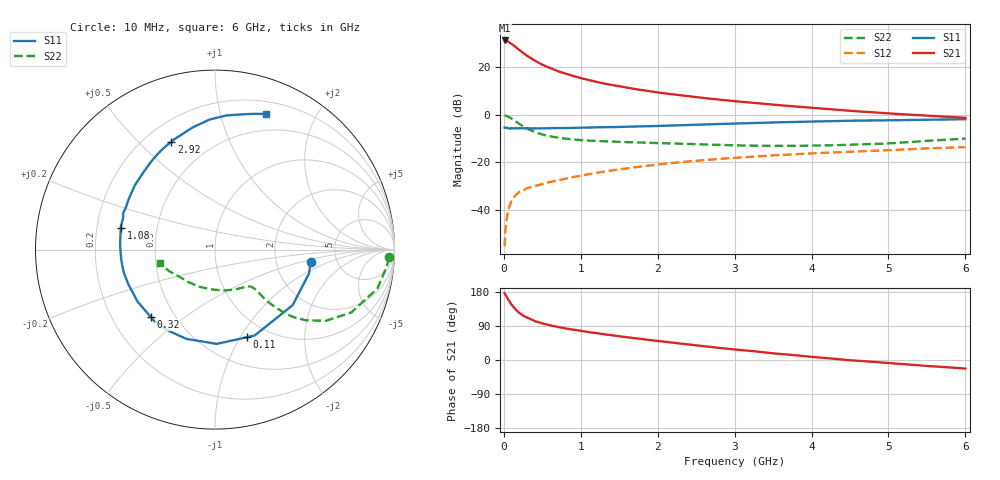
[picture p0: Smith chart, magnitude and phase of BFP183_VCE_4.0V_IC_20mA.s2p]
! Infineon Technologies  Discrete & RF Semiconductors
! BFP183
! VCE = 4.0 V,  IC =  20 mA
! Common Emitter S-Parameters:  Jan 2016
# GHz  S  MA  R  50
!  f  S11  S21  S12  S22
! GHz  MAG  ANG  MAG  ANG  MAG  ANG  MAG  ANG
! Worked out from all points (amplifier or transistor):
!   210 points, 10 MHz to 6 GHz, reference 50 ohm
!   highest |S21| = 31.4 dB at 10 MHz (marker M1)
!   |S21| within 3 dB of that: start of sweep to 162.8 MHz
!   unconditionally stable (mu >= 1): 841.5 MHz to 5.651 GHz
!   at 185 MHz: K = 0.37, MSG = 30.4 dB, |S12| = -33.0 dB
!   at 1.52 GHz: K = 1.14, MAG = 15.2 dB, |S12| = -22.9 dB
!   at 6 GHz: K = 0.96, MSG = 6.2 dB, |S12| = -13.6 dB
!   S11 on the Smith chart (normalised r, x): 10 MHz: 3.20, -0.60; 110 MHz: 0.80, -1.07; 320 MHz: 0.37, -0.38; 1.08 GHz: 0.30, +0.11; 2.92 GHz: 0.30, +0.63; 6 GHz: 0.32, +1.40
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0.01  0.5379 -7.1  36.99 176.1  0.0017 89.0  0.9695 -2.6
0.02  0.5404 -14.3  36.83 172.8  0.0036 78.2  0.9624 -5.5
0.05  0.532 -35.5  35.58 161.6  0.0085 80.0  0.9307 -13.5
0.1  0.5272 -65.3  31.5 146.1  0.0156 65.5  0.8358 -24.8
0.11  0.5197 -70.0  30.54 143.9  0.0165 63.7  0.8143 -26.2
0.15  0.5254 -89.0  27.21 133.7  0.0201 58.3  0.7342 -32.7
0.2  0.5223 -107.8  23.43 124.3  0.0236 53.4  0.6435 -37.8
0.26  0.5207 -122.6  19.67 116.1  0.0258 50.6  0.5592 -41.3
0.32  0.5187 -133.8  16.9 110.3  0.029 49.7  0.4973 -42.9
0.4  0.5195 -146.2  13.95 102.8  0.0313 48.8  0.4344 -44.3
0.5  0.5201 -158.1  11.4 96.6  0.0347 49.0  0.3844 -44.8
0.6  0.5243 -166.3  9.711 91.5  0.0384 50.0  0.3519 -44.6
0.8  0.5271 -179.4  7.387 83.3  0.0445 51.7  0.3146 -44.6
1.02  0.535 169.3  5.833 76.1  0.0527 52.7  0.2918 -45.5
1.08  0.5386 166.8  5.528 74.3  0.0551 52.8  0.2872 -45.9
1.5  0.5549 151.2  3.987 62.6  0.0708 52.3  0.2688 -50.3
2.02  0.5833 134.5  2.935 49.9  0.0902 49.6  0.254 -59.1
2.92  0.6484 112.1  2.001 29.4  0.1213 42.4  0.2298 -80.7
3.1  0.6609 108.2  1.877 25.9  0.127 40.9  0.2257 -85.7
4.1  0.729 91.0  1.367 6.7  0.1565 32.1  0.2252 -116.9
5.1  0.7701 78.2  1.047 -9.4  0.1825 24.6  0.2552 -145.6
6  0.8082 69.3  0.865 -22.7  0.2085 16.3  0.3157 -165.9
